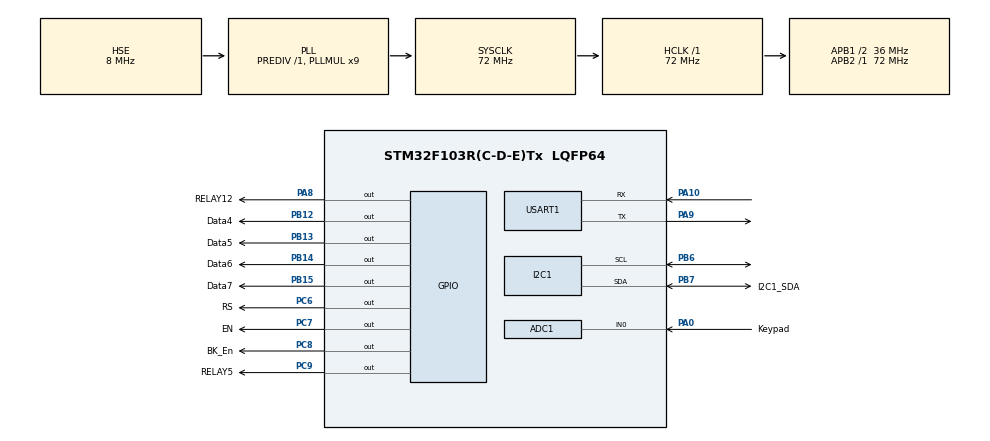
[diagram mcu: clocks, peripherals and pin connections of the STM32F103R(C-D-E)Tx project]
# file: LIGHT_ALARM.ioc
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ADC1.Channel-0\#ChannelRegularConversion=ADC_CHANNEL_0
ADC1.InjNumberOfConversion=0
ADC1.NbrOfConversionFlag=1
ADC1.Rank-0\#ChannelRegularConversion=1
ADC1.SamplingTime-0\#ChannelRegularConversion=ADC_SAMPLETIME_1CYCLE_5
ADC1.master=1
Dma.ADC1.0.Direction=DMA_PERIPH_TO_MEMORY
Dma.ADC1.0.Instance=DMA1_Channel1
Dma.ADC1.0.MemDataAlignment=DMA_MDATAALIGN_HALFWORD
Dma.ADC1.0.MemInc=DMA_MINC_ENABLE
Dma.ADC1.0.Mode=DMA_CIRCULAR
Dma.ADC1.0.PeriphDataAlignment=DMA_PDATAALIGN_HALFWORD
Dma.ADC1.0.PeriphInc=DMA_PINC_DISABLE
Dma.ADC1.0.Priority=DMA_PRIORITY_LOW
Dma.I2C1_RX.1.Direction=DMA_PERIPH_TO_MEMORY
Dma.I2C1_RX.1.Instance=DMA1_Channel7
Dma.I2C1_RX.1.MemDataAlignment=DMA_MDATAALIGN_BYTE
Dma.I2C1_RX.1.MemInc=DMA_MINC_ENABLE
Dma.I2C1_RX.1.Mode=DMA_CIRCULAR
Dma.I2C1_RX.1.PeriphDataAlignment=DMA_PDATAALIGN_BYTE
Dma.I2C1_RX.1.PeriphInc=DMA_PINC_DISABLE
Dma.I2C1_RX.1.Priority=DMA_PRIORITY_LOW
Dma.Request0=ADC1
Dma.Request1=I2C1_RX
I2C1.I2C_Mode=I2C_Standard
Mcu.Family=STM32F1
Mcu.Name=STM32F103R(C-D-E)Tx
Mcu.Package=LQFP64
NVIC.DMA1_Channel1_IRQn=true\:0\:0\:false\:true\:true\:3\:false
NVIC.DMA1_Channel7_IRQn=true\:0\:0\:false\:true\:true\:4\:false
NVIC.I2C1_EV_IRQn=true\:0\:0\:false\:true\:true\:5\:true
NVIC.PriorityGroup=NVIC_PRIORITYGROUP_1
NVIC.RCC_IRQn=true\:0\:0\:true\:true\:true\:1\:true
NVIC.RTC_IRQn=true\:1\:0\:true\:true\:true\:2\:true
PA0-WKUP.GPIO_Label=Keypad
PA0-WKUP.Signal=ADCx_IN0
PA10.Mode=Asynchronous
PA10.Signal=USART1_RX
PA13.Mode=Serial_Wire
PA13.Signal=SYS_JTMS-SWDIO
PA14.Mode=Serial_Wire
PA14.Signal=SYS_JTCK-SWCLK
PA8.GPIO_Label=RELAY12
PA8.GPIO_ModeDefaultOutputPP=GPIO_MODE_OUTPUT_OD
PA8.PinState=GPIO_PIN_SET
PA8.Signal=GPIO_Output
PA9.Mode=Asynchronous
PA9.Signal=USART1_TX
PB12.GPIO_Label=Data4
PB12.GPIO_Speed=GPIO_SPEED_FREQ_MEDIUM
PB12.PinState=GPIO_PIN_RESET
PB12.Signal=GPIO_Output
PB13.GPIO_Label=Data5
PB13.GPIO_Speed=GPIO_SPEED_FREQ_MEDIUM
PB13.Signal=GPIO_Output
PB14.GPIO_Label=Data6
PB14.GPIO_Speed=GPIO_SPEED_FREQ_MEDIUM
PB14.Signal=GPIO_Output
PB15.GPIO_Label=Data7
PB15.GPIO_Speed=GPIO_SPEED_FREQ_MEDIUM
PB15.Signal=GPIO_Output
PB6.GPIO_Mode=GPIO_MODE_AF_OD
PB6.GPIO_Speed=GPIO_SPEED_FREQ_MEDIUM
PB6.Mode=I2C
PB6.Signal=I2C1_SCL
PB7.GPIO_Label=I2C1_SDA
PB7.GPIO_Mode=GPIO_MODE_AF_OD
PB7.GPIO_Speed=GPIO_SPEED_FREQ_MEDIUM
PB7.Mode=I2C
PB7.Signal=I2C1_SDA
PC6.GPIO_Label=RS
PC6.GPIO_Speed=GPIO_SPEED_FREQ_MEDIUM
PC6.Signal=GPIO_Output
PC7.GPIO_Label=EN
PC7.GPIO_Speed=GPIO_SPEED_FREQ_MEDIUM
PC7.Signal=GPIO_Output
PC8.GPIO_Label=BK_En
PC8.GPIO_ModeDefaultOutputPP=GPIO_MODE_OUTPUT_OD
PC8.GPIO_Speed=GPIO_SPEED_FREQ_LOW
PC8.Signal=GPIO_Output
PC9.GPIO_Label=RELAY5
PC9.GPIO_ModeDefaultOutputPP=GPIO_MODE_OUTPUT_OD
PC9.PinState=GPIO_PIN_SET
PC9.Signal=GPIO_Output
PD0-OSC_IN.Mode=HSE-External-Oscillator
PD0-OSC_IN.Signal=RCC_OSC_IN
PD1-OSC_OUT.Mode=HSE-External-Oscillator
PD1-OSC_OUT.Signal=RCC_OSC_OUT
ProjectManager.HeapSize=0x1000
ProjectManager.StackSize=0x2000
ProjectManager.TargetToolchain=MDK-ARM V5
RCC.ADCPresc=RCC_ADCPCLK2_DIV6
RCC.AHBFreq_Value=72000000
RCC.APB1CLKDivider=RCC_HCLK_DIV2
RCC.APB1Freq_Value=36000000
RCC.APB1TimFreq_Value=72000000
RCC.APB2Freq_Value=72000000
RCC.APB2TimFreq_Value=72000000
RCC.HCLKFreq_Value=72000000
RCC.PLLMUL=RCC_PLL_MUL9
RCC.PLLSourceVirtual=RCC_PLLSOURCE_HSE
RCC.SYSCLKFreq_VALUE=72000000
RCC.SYSCLKSource=RCC_SYSCLKSOURCE_PLLCLK
RCC.USBFreq_Value=72000000
RTC.AutoPrediv=RTC_AUTO_1_SECOND
RTC.Date=15
RTC.Hours=9
RTC.Minutes=22
RTC.Month=RTC_MONTH_MAY
RTC.OutPut=RTC_OUTPUTSOURCE_NONE
RTC.WeekDay=RTC_WEEKDAY_TUESDAY
RTC.Year=17
SH.ADCx_IN0.0=ADC1_IN0,IN0
USART1.VirtualMode=VM_ASYNC
VP_RTC_No_RTC_Output.Mode=RTC_OUT_NO
VP_RTC_VS_RTC_Activate.Mode=RTC_Enabled
VP_RTC_VS_RTC_Calendar.Mode=RTC_Calendar
board=LIGHT_ALARM

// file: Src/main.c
/**
  ******************************************************************************
  * @file           : main.c
  * @brief          : Main program body
  ******************************************************************************
  ** This notice applies to any and all portions of this file
  * that are not between comment pairs USER CODE BEGIN and
  * USER CODE END. Other portions of this file, whether
  * inserted by the user or by software development tools
  * are owned by their respective copyright owners.
  *
  * COPYRIGHT(c) 2018 STMicroelectronics
  *
  * Redistribution and use in source and binary forms, with or without modification,
  * are permitted provided that the following conditions are met:
  *   1. Redistributions of source code must retain the above copyright notice,
  *      this list of conditions and the following disclaimer.
  *   2. Redistributions in binary form must reproduce the above copyright notice,
  *      this list of conditions and the following disclaimer in the documentation
  *      and/or other materials provided with the distribution.
  *   3. Neither the name of STMicroelectronics nor the names of its contributors
  *      may be used to endorse or promote products derived from this software
  *      without specific prior written permission.
  *
  * THIS SOFTWARE IS PROVIDED BY THE COPYRIGHT HOLDERS AND CONTRIBUTORS "AS IS"
  * AND ANY EXPRESS OR IMPLIED WARRANTIES, INCLUDING, BUT NOT LIMITED TO, THE
  * IMPLIED WARRANTIES OF MERCHANTABILITY AND FITNESS FOR A PARTICULAR PURPOSE ARE
  * DISCLAIMED. IN NO EVENT SHALL THE COPYRIGHT HOLDER OR CONTRIBUTORS BE LIABLE
  * FOR ANY DIRECT, INDIRECT, INCIDENTAL, SPECIAL, EXEMPLARY, OR CONSEQUENTIAL
  * DAMAGES (INCLUDING, BUT NOT LIMITED TO, PROCUREMENT OF SUBSTITUTE GOODS OR
  * SERVICES; LOSS OF USE, DATA, OR PROFITS; OR BUSINESS INTERRUPTION) HOWEVER
  * CAUSED AND ON ANY THEORY OF LIABILITY, WHETHER IN CONTRACT, STRICT LIABILITY,
  * OR TORT (INCLUDING NEGLIGENCE OR OTHERWISE) ARISING IN ANY WAY OUT OF THE USE
  * OF THIS SOFTWARE, EVEN IF ADVISED OF THE POSSIBILITY OF SUCH DAMAGE.
  *
  ******************************************************************************
  */
#include "main.h"
#include "stm32f1xx_hal.h"
#include "adc.h"
#include "dma.h"
#include "i2c.h"
#include "rtc.h"
#include "usart.h"
#include "gpio.h"

/* USER CODE BEGIN Includes */
#include <stdio.h>
#include "stm32f1xx_flash.h"
//#include "uart.h"
#include "stm32f1xx_hal_gpio_ex.h"
#include "stm32f1xx_it.h"
#include "LCD1602.h"
#include "ds1307.h"
#include "KeyADC.h"
#ifdef __GNUC__
#define PUTCHAR_PROTOTYPE int __io_putchar(int ch)
#else
#define PUTCHAR_PROTOTYPE int fputc(int ch, FILE *f)
#endif /* __GNUC__ */

PUTCHAR_PROTOTYPE
{
	HAL_UART_Transmit(&huart1, (uint8_t *)&ch, 1, 0xFFFF);
	return ch;
}
/* USER CODE END Includes */

/* USER CODE BEGIN PV */
/* Private variables ---------------------------------------------------------*/
extern volatile uint8_t	ds1307ReadBuff[8];
extern volatile uint8_t  ds1307WriteBuff[8];
extern time time1;
char DataLCD[17];
RTC_TimeTypeDef rtcTime1;
RTC_DateTypeDef rtcDate1;
RTC_AlarmTypeDef rtcAlarm1,rtcAlarm2,rtcAlarm3;
/* USER CODE END PV */

void SystemClock_Config(void);
static void MX_NVIC_Init(void);

/* USER CODE BEGIN PFP */
/* Private function prototypes -----------------------------------------------*/

/* USER CODE END PFP */

int main(void)
{
  /* USER CODE BEGIN 1 */
	uint32_t	temp32;
	unsigned char temp8[2048]={1,0x00,0x01,0x20,1,0x00,0x02,0x20,1,0x00,0x03,0x20};
  /* USER CODE END 1 */

  /* MCU Configuration----------------------------------------------------------*/

  /* Reset of all peripherals, Initializes the Flash interface and the Systick. */
  HAL_Init();

  /* Configure the system clock */
  SystemClock_Config();

  /* USER CODE BEGIN SysInit */
	__HAL_AFIO_REMAP_SWJ_ENABLE();
	HAL_Delay(1000);
  /* USER CODE END SysInit */

  /* Initialize all configured peripherals */
  MX_GPIO_Init();
  MX_DMA_Init();
  MX_I2C1_Init();
  MX_ADC1_Init();
  MX_USART1_UART_Init();
  MX_RTC_Init();

  /* Initialize interrupts */
  MX_NVIC_Init();
  /* USER CODE BEGIN 2 */
	Init_LCD();
  /* USER CODE END 2 */

  /* Infinite loop */
  /* USER CODE BEGIN WHILE */
	HAL_GPIO_WritePin(BK_En_GPIO_Port,BK_En_Pin,GPIO_PIN_SET);
	StringDisplay_LCD(1,2,"Hello NaBeau!");
	HAL_Delay(1000);
	StringDisplay_LCD(2,2,"How are you?");
	HAL_Delay(1000);
	Cmd_LCD(0x01);
//	StringDisplay_LCD(1,2,"               ");
//	StringDisplay_LCD(2,2,"               ");
	StringDisplay_LCD(1,2,"How are you? ");
	StringDisplay_LCD(2,2,"Fine! Thanks");
	if(HAL_RTC_GetState(& hrtc)== HAL_RTC_STATE_RESET)//if rtc reset then configure default time
	{
		rtcTime1.Hours = 0x23;
		rtcTime1.Minutes = 0x59;
		rtcTime1.Seconds = 0x50;
		HAL_RTC_SetTime(&hrtc,&rtcTime1,RTC_FORMAT_BCD);
		rtcDate1.Date = 0x31;
		rtcDate1.Month = 0x12;
		rtcDate1.WeekDay = 0x01;
		rtcDate1.Year = 0x99;
		HAL_RTC_SetDate(&hrtc,&rtcDate1,RTC_FORMAT_BCD);
	}
	////////////////////////
//	ds1307WriteBuff[0]=0x19;
//	ds1307WriteBuff[1]=0;
//	ds1307WriteBuff[2]=0;
//	ds1307WriteBuff[3]=0;
//	ds1307WriteBuff[4]=0;
//	ds1307WriteBuff[5]=0;
//	ds1307WriteBuff[6]=0;
//	ds1307WriteBuff[7]=0x10;
//	HAL_I2C_Mem_Write_IT(&hi2c1,SLAVE_ADDRESS<<1,0x00,I2C_MEMADD_SIZE_16BIT,ds1307WriteBuff,8);
	HAL_Delay(5000);
	Cmd_LCD(0x01);
//	/////////////////////////////////
//	if(WriteFlash(temp8)!=0)
//	{
//		StringDisplay_LCD(1,1,"ERROR Flash!!");
//	}
//	/////////////////////////////////
	HAL_RTC_GetTime(&hrtc,&rtcTime1,RTC_FORMAT_BCD);
	HAL_RTC_GetDate(&hrtc,&rtcDate1,RTC_FORMAT_BCD);
	if(rtcDate1.Year>0x99)
		rtcDate1.Year = 0;
	uint8_t tempdat[4];
	dayDisplay(tempdat,rtcDate1.WeekDay);
	sprintf(DataLCD,"%02X/%02X/%02X-%s",rtcDate1.Year,rtcDate1.Month,rtcDate1.Date,tempdat);
	StringDisplay_LCD(1,2,DataLCD);
	sprintf(DataLCD,"%02X:%02X:%02X",rtcTime1.Hours,rtcTime1.Minutes,rtcTime1.Seconds);
	StringDisplay_LCD(2,4,DataLCD);
	HAL_RTCEx_SetSecond_IT(&hrtc);
	///////////////////////////////
	temp32 = ReadFlash(FLASH_USER_START_ADDR);
	rtcAlarm1.Alarm	= temp32>>24;
	rtcAlarm1.AlarmTime.Hours = temp32>>16;
	rtcAlarm1.AlarmTime.Minutes = temp32>>8;
	rtcAlarm1.AlarmTime.Seconds = temp32;
	temp32 = ReadFlash(FLASH_USER_START_ADDR+4);
	rtcAlarm2.Alarm	= temp32>>24;
	rtcAlarm2.AlarmTime.Hours = temp32>>16;
	rtcAlarm2.AlarmTime.Minutes = temp32>>8;
	rtcAlarm2.AlarmTime.Seconds = temp32;
	temp32 = ReadFlash(FLASH_USER_START_ADDR+8);
	rtcAlarm3.Alarm	= temp32>>24;
	rtcAlarm3.AlarmTime.Hours = temp32>>16;
	rtcAlarm3.AlarmTime.Minutes = temp32>>8;
	rtcAlarm3.AlarmTime.Seconds = temp32;
	//HAL_RTC_SetAlarm_IT(&hrtc,&rtcAlarm1,RTC_FORMAT_BCD);
	///////////////////////////////////////////
	static uint8_t	Mode = 0,LeftRight = 0,UpDown = 0;
//	Cmd_LCD(0x80);
//	Cmd_LCD(0x0F);
  while (1)
  {
		printf("Loop here!\r\n");
//		HAL_RTC_GetTime(&hrtc,&rtcTime1,RTC_FORMAT_BCD);
//		sprintf(DataLCD,"%02X:%02X:%02X",rtcTime1.Hours,rtcTime1.Minutes,rtcTime1.Seconds);
//		StringDisplay_LCD(2,4,DataLCD);
//		ReadDs1307(ds1307ReadBuff);
//		sprintf(DataLCD,"%02X:%02X:%02X",time1.hours,time1.minutes,time1.seconds);
//		StringDisplay_LCD(2,5,DataLCD);
		switch(ScanKey())
		{
			case 	btnRIGHT:
				if(Mode == 1)
				{
					Cmd_LCD(0x82);
					Cmd_LCD(0x0F);
					LeftRight ++;
					switch(LeftRight)
					{
						case 1:

							break;
						case 2:
							break;
					}
				}
				break;
			case	btnLEFT:
				if(Mode == 1)
				{
					Cmd_LCD(0x82);
					Cmd_LCD(0x0F);
					LeftRight --;
				}
				break;
			case btnDOWN:
				UpDown --;
				__HAL_RTC_SECOND_DISABLE_IT(&hrtc,RTC_IT_SEC);
				switch(UpDown)
				{
					case 1://Setup mode
						StringDisplay_LCD(1,0,"1.View Alarm    ");
						StringDisplay_LCD(2,0,"Press SELECT?   ");
						break;
					case 2://
						StringDisplay_LCD(1,0,"2.Real Time     ");
						StringDisplay_LCD(2,0,"Press SELECT?   ");
						break;
					case 3:
						StringDisplay_LCD(1,0,"3.Alarm Time    ");
						StringDisplay_LCD(2,0,"Press SELECT?   ");
						break;
					case 0:
						UpDown = 4;
					case 4:
						StringDisplay_LCD(1,0,"4.Exit          ");
						StringDisplay_LCD(2,0,"Press SELECT?   ");
						break;
					default:
						UpDown = 1;
						break;
				}
				break;
			case btnUP:
				UpDown ++;
				__HAL_RTC_SECOND_DISABLE_IT(&hrtc,RTC_IT_SEC);
				switch(UpDown)
				{
					case 5:
						UpDown = 1;
					case 1://Setup mode
						StringDisplay_LCD(1,0,"1.View Alarm    ");
						StringDisplay_LCD(2,0,"Press SELECT?   ");
						break;
					case 2://
						StringDisplay_LCD(1,0,"2.Real Time     ");
						StringDisplay_LCD(2,0,"Press SELECT?   ");
						break;
					case 3:
						StringDisplay_LCD(1,0,"3.Alarm Time    ");
						StringDisplay_LCD(2,0,"Press SELECT?   ");
						break;
					case 4:
						StringDisplay_LCD(1,0,"4.Exit          ");
						StringDisplay_LCD(2,0,"Press SELECT?   ");
						break;
					default:
						UpDown = 1;
						break;
				}
				break;
			case btnSELECT://Mode function
				switch(UpDown)
				{
					case 1:
						break;
					case 2:
						Cmd_LCD(0x01);
						HAL_RTC_GetTime(&hrtc,&rtcTime1,RTC_FORMAT_BCD);
						HAL_RTC_GetDate(&hrtc,&rtcDate1,RTC_FORMAT_BCD);
						if(rtcDate1.Year>0x99)
							rtcDate1.Year = 0;
						dayDisplay(tempdat,rtcDate1.WeekDay);
						sprintf(DataLCD,"%02X/%02X/%02X-%s",rtcDate1.Year,rtcDate1.Month,rtcDate1.Date,tempdat);
						StringDisplay_LCD(1,2,DataLCD);
						sprintf(DataLCD,"%02X:%02X:%02X",rtcTime1.Hours,rtcTime1.Minutes,rtcTime1.Seconds);
						StringDisplay_LCD(2,4,DataLCD);
						Mode = 1;
						break;
					case 3:
						break;
					case 4:
						Cmd_LCD(0x01);
						HAL_RTC_GetTime(&hrtc,&rtcTime1,RTC_FORMAT_BCD);
						HAL_RTC_GetDate(&hrtc,&rtcDate1,RTC_FORMAT_BCD);
						if(rtcDate1.Year>0x99)
							rtcDate1.Year = 0;
						dayDisplay(tempdat,rtcDate1.WeekDay);
						sprintf(DataLCD,"%02X/%02X/%02X-%s",rtcDate1.Year,rtcDate1.Month,rtcDate1.Date,tempdat);
						StringDisplay_LCD(1,2,DataLCD);
						sprintf(DataLCD,"%02X:%02X:%02X",rtcTime1.Hours,rtcTime1.Minutes,rtcTime1.Seconds);
						StringDisplay_LCD(2,4,DataLCD);
						__HAL_RTC_SECOND_ENABLE_IT(&hrtc,RTC_IT_SEC);
						break;
				}
				break;
			case btnNONE:
//				StringDisplay_LCD(2,1,"N");
				break;
		}
  /* USER CODE END WHILE */

  }

}

void SystemClock_Config(void)
{

  RCC_OscInitTypeDef RCC_OscInitStruct;
  RCC_ClkInitTypeDef RCC_ClkInitStruct;
  RCC_PeriphCLKInitTypeDef PeriphClkInit;

    /**Initializes the CPU, AHB and APB busses clocks
    */
  RCC_OscInitStruct.OscillatorType = RCC_OSCILLATORTYPE_LSI|RCC_OSCILLATORTYPE_HSE;
  RCC_OscInitStruct.HSEState = RCC_HSE_ON;
  RCC_OscInitStruct.HSEPredivValue = RCC_HSE_PREDIV_DIV1;
  RCC_OscInitStruct.HSIState = RCC_HSI_ON;
  RCC_OscInitStruct.LSIState = RCC_LSI_ON;
  RCC_OscInitStruct.PLL.PLLState = RCC_PLL_ON;
  RCC_OscInitStruct.PLL.PLLSource = RCC_PLLSOURCE_HSE;
  RCC_OscInitStruct.PLL.PLLMUL = RCC_PLL_MUL9;
  if (HAL_RCC_OscConfig(&RCC_OscInitStruct) != HAL_OK)
  {
    _Error_Handler(__FILE__, __LINE__);
  }

    /**Initializes the CPU, AHB and APB busses clocks
    */
  RCC_ClkInitStruct.ClockType = RCC_CLOCKTYPE_HCLK|RCC_CLOCKTYPE_SYSCLK
                              |RCC_CLOCKTYPE_PCLK1|RCC_CLOCKTYPE_PCLK2;
  RCC_ClkInitStruct.SYSCLKSource = RCC_SYSCLKSOURCE_PLLCLK;
  RCC_ClkInitStruct.AHBCLKDivider = RCC_SYSCLK_DIV1;
  RCC_ClkInitStruct.APB1CLKDivider = RCC_HCLK_DIV2;
  RCC_ClkInitStruct.APB2CLKDivider = RCC_HCLK_DIV1;

  if (HAL_RCC_ClockConfig(&RCC_ClkInitStruct, FLASH_LATENCY_2) != HAL_OK)
  {
    _Error_Handler(__FILE__, __LINE__);
  }

  PeriphClkInit.PeriphClockSelection = RCC_PERIPHCLK_RTC|RCC_PERIPHCLK_ADC;
  PeriphClkInit.RTCClockSelection = RCC_RTCCLKSOURCE_LSI;
  PeriphClkInit.AdcClockSelection = RCC_ADCPCLK2_DIV6;
  if (HAL_RCCEx_PeriphCLKConfig(&PeriphClkInit) != HAL_OK)
  {
    _Error_Handler(__FILE__, __LINE__);
  }

    /**Configure the Systick interrupt time
    */
  HAL_SYSTICK_Config(HAL_RCC_GetHCLKFreq()/1000);

    /**Configure the Systick
    */
  HAL_SYSTICK_CLKSourceConfig(SYSTICK_CLKSOURCE_HCLK);

  /* SysTick_IRQn interrupt configuration */
  HAL_NVIC_SetPriority(SysTick_IRQn, 0, 0);
}

/**
  * @brief NVIC Configuration.
  * @retval None
  */
static void MX_NVIC_Init(void)
{
  /* RCC_IRQn interrupt configuration */
  HAL_NVIC_SetPriority(RCC_IRQn, 0, 0);
  HAL_NVIC_EnableIRQ(RCC_IRQn);
  /* RTC_IRQn interrupt configuration */
  HAL_NVIC_SetPriority(RTC_IRQn, 1, 0);
  HAL_NVIC_EnableIRQ(RTC_IRQn);
  /* DMA1_Channel1_IRQn interrupt configuration */
  HAL_NVIC_SetPriority(DMA1_Channel1_IRQn, 0, 0);
  HAL_NVIC_EnableIRQ(DMA1_Channel1_IRQn);
  /* DMA1_Channel7_IRQn interrupt configuration */
  HAL_NVIC_SetPriority(DMA1_Channel7_IRQn, 0, 0);
  HAL_NVIC_EnableIRQ(DMA1_Channel7_IRQn);
  /* I2C1_EV_IRQn interrupt configuration */
  HAL_NVIC_SetPriority(I2C1_EV_IRQn, 0, 0);
  HAL_NVIC_EnableIRQ(I2C1_EV_IRQn);
}

void _Error_Handler(char *file, int line)
{
  while(1)
  {
  }
}

/************************ (C) COPYRIGHT STMicroelectronics *****END OF FILE****/
